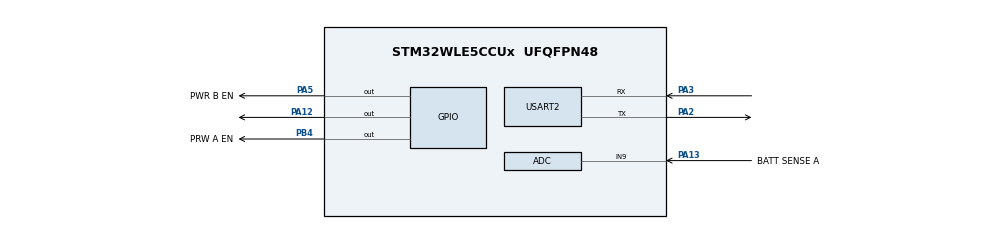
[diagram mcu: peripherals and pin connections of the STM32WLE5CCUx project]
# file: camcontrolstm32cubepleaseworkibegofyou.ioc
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ADC.NbrOfConversion=1
ADC.SelectedChannel=ADC_CHANNEL_9
Mcu.Family=STM32WL
Mcu.Name=STM32WLE5CCUx
Mcu.Package=UFQFPN48
NVIC.PriorityGroup=NVIC_PRIORITYGROUP_4
OSC_IN.Mode=HSE-External-Oscillator
OSC_IN.Signal=RCC_OSC_IN
OSC_OUT.Mode=HSE-External-Oscillator
OSC_OUT.Signal=RCC_OSC_OUT
PA12.Signal=GPIO_Output
PA13.GPIO_Label=BATT SENSE A
PA13.Mode=IN9
PA13.Signal=ADC_IN9
PA2.Mode=Asynchronous
PA2.Signal=USART2_TX
PA3.Mode=Asynchronous
PA3.Signal=USART2_RX
PA5.GPIO_Label=PWR B EN
PA5.Signal=GPIO_Output
PB4.GPIO_Label=PRW A EN
PB4.Signal=GPIO_Output
PB6.Signal=USART1_TX
PB7.Signal=USART1_RX
ProjectManager.HeapSize=0x200
ProjectManager.StackSize=0x400
ProjectManager.TargetToolchain=STM32CubeIDE
RCC.HSE_VALUE=32000000
RCC.HSI_VALUE=16000000
RCC.LSE_VALUE=32768
RCC.VCOOutputFreq_Value=32000000
USART2.VirtualMode-Asynchronous=VM_ASYNC
VP_RTC_VS_RTC_Activate.Mode=RTC_Enabled
VP_SUBGHZ_VS_SUBGHZ.Mode=SUBGHZ_Activate
board=custom

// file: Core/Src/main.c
/* USER CODE BEGIN Header */
/**
  ******************************************************************************
  * @file           : main.c
  * @brief          : Main program body
  ******************************************************************************
  * @attention
  *
  * Copyright (c) 2026 STMicroelectronics.
  * All rights reserved.
  *
  * This software is licensed under terms that can be found in the LICENSE file
  * in the root directory of this software component.
  * If no LICENSE file comes with this software, it is provided AS-IS.
  *
  ******************************************************************************
  */
/* USER CODE END Header */
#include "main.h"

/* USER CODE BEGIN Includes */
#include "string.h"
#include <stdbool.h>
#include <string.h>
#include <math.h>
//#include <lora.h>
#include <basiclib.h>
/* USER CODE END Includes */

ADC_HandleTypeDef hadc;

RTC_HandleTypeDef hrtc;

SUBGHZ_HandleTypeDef hsubghz;

UART_HandleTypeDef huart2;

void SystemClock_Config(void);
static void MX_GPIO_Init(void);
static void MX_USART2_UART_Init(void);
static void MX_RTC_Init(void);
static void MX_SUBGHZ_Init(void);
static void MX_ADC_Init(void);
/* USER CODE BEGIN PFP */

#define PUTCHAR_PROTOTYPE int __io_putchar(int ch)

/* USER CODE END PFP */

/* USER CODE BEGIN 0 */

#define transmitinterval 1000

void LED_on();
void LED_off();

void SetStandbyXOSC();
void SetPacketTypeLora();
void SetPacketTypeFSK();
uint32_t ComputeRfFreq(double frequencyMhz);
void SetRfFreq(uint32_t rfFreq);
void SetPaLowPower();
void SetPa22dB();
void SetTxPower(int8_t powerdBm);
void SetContinuousWave();
void SetTxInfinitePreamble();
void SetTx(uint32_t timeout);
void SetRx(uint32_t timeout);
void SetModulationParamsLora(const uint8_t params[4]);
void SetModulationParamsFSK(uint32_t bitrate, uint8_t pulseshape, uint8_t bandwidth, uint32_t freq_dev);
void SetPacketParamsLora(uint16_t preamble_length, bool header_fixed, uint8_t payload_length, bool crc_enabled, bool invert_iq);
void FSKBeep(int8_t powerdBm, uint32_t toneHz, uint32_t lengthMs);
int CWBeep(int8_t powerdBm, uint32_t lengthMs);

uint16_t GetIRQStatus();
void ClearIRQ();
uint16_t SubGHz_CheckAndClearTxIRQ(void);
void CfgIRQ(uint16_t bitmask);

void setupLoRa();
void sendPacket(union telempacket _packet,uint32_t timeout);
union telempacket recievePacket(uint32_t timeout);

union telempacket recievePacketACK(uint8_t command,uint32_t timeout);
uint8_t sendPacketACK(union telempacket _packet,uint32_t timeout);

void printbuffer(uint8_t *buf,uint8_t size);

/* USER CODE END 0 */

int main(void)
{

  /* MCU Configuration--------------------------------------------------------*/

  /* Reset of all peripherals, Initializes the Flash interface and the Systick. */
  HAL_Init();

  /* Configure the system clock */
  SystemClock_Config();

  /* Initialize all configured peripherals */
  MX_GPIO_Init();
  MX_USART2_UART_Init();
  MX_RTC_Init();
  MX_SUBGHZ_Init();
  MX_ADC_Init();
  /* USER CODE BEGIN 2 */

  uint32_t uptime = 0;
  setupLoRa();
  uint8_t commandtosend = 0;

  /* USER CODE END 2 */

  /* Infinite loop */
  /* USER CODE BEGIN WHILE */
  while (1)
  {
		HAL_GPIO_TogglePin(GPIOA, GPIO_PIN_12);
		uptime = HAL_GetTick();

		/*------------------------TRANSMIT-------------------*/

		union telempacket packet;
		uint8_t Astatus = HAL_GPIO_ReadPin(GPIOB, GPIO_PIN_4);
		uint8_t Bstatus = HAL_GPIO_ReadPin(GPIOA, GPIO_PIN_5);

		uint8_t boardstatus = Astatus | (Bstatus << 1);
		printf(" status = %x",boardstatus);
		printf(" transmitting @ %d ms ",uptime);
		packet.r.uptime = uptime;
		packet.r.ID = 0x12;
		packet.r.status = boardstatus;
		//printbuffer(packet.data, sizeof(packet.data));
		//printf(" ---- ");
		uint8_t ackcommand = 0;
		ackcommand = sendPacketACK(packet,1000);

		printf(" command 0x%x \n\r ",ackcommand);

		if (ackcommand & 0b1){
			printf("enabling A ");
			HAL_GPIO_WritePin(GPIOB, GPIO_PIN_4, GPIO_PIN_SET);
		}
		if (ackcommand & 0b10){
			printf("enabling B ");
			HAL_GPIO_WritePin(GPIOA, GPIO_PIN_5, GPIO_PIN_SET);
		}
		if (ackcommand & 0b100){
			printf("disabling A ");
			HAL_GPIO_WritePin(GPIOB, GPIO_PIN_4, GPIO_PIN_RESET);
		}
		if (ackcommand & 0b1000){
			printf("disabling B ");
			HAL_GPIO_WritePin(GPIOA, GPIO_PIN_5, GPIO_PIN_RESET);
		}

		HAL_Delay(transmitinterval);
		/*------------------------RECEIVE-------------------*/
//		uint8_t serialcommands[8] = {0,0,0,0,0,0,0,0};
//		HAL_UART_Receive(&huart2, serialcommands, sizeof(serialcommands), 20);
//		if(serialcommands[0] != 0){
//			printbuffer(serialcommands, sizeof(serialcommands));
//			printf("recieved command 0x%x",serialcommands[0]);
//			commandtosend = serialcommands[0];
//		}
//
//		union telempacket newpacket = recievePacketACK(commandtosend,300);
//		if (newpacket.r.ID == 0x12){
//			printf("packet received - uptime %d ms, status %d \n\r",(int)newpacket.r.uptime,(int)newpacket.r.status);
//			commandtosend = 0;
//		}
//		//printf(" packet uptime: %d ID: %x \n\r",newpacket.r.uptime,newpacket.r.ID);
//		HAL_Delay(200);

		/*------------------------ALL-------------------*/

    /* USER CODE END WHILE */

  }
}

void SystemClock_Config(void)
{
  RCC_OscInitTypeDef RCC_OscInitStruct = {0};
  RCC_ClkInitTypeDef RCC_ClkInitStruct = {0};

  /** Configure the main internal regulator output voltage
  */
  __HAL_PWR_VOLTAGESCALING_CONFIG(PWR_REGULATOR_VOLTAGE_SCALE2);

  /** Initializes the CPU, AHB and APB buses clocks
  */
  RCC_OscInitStruct.OscillatorType = RCC_OSCILLATORTYPE_LSI|RCC_OSCILLATORTYPE_MSI;
  RCC_OscInitStruct.MSIState = RCC_MSI_ON;
  RCC_OscInitStruct.MSICalibrationValue = RCC_MSICALIBRATION_DEFAULT;
  RCC_OscInitStruct.MSIClockRange = RCC_MSIRANGE_6;
  RCC_OscInitStruct.LSIDiv = RCC_LSI_DIV1;
  RCC_OscInitStruct.LSIState = RCC_LSI_ON;
  RCC_OscInitStruct.PLL.PLLState = RCC_PLL_NONE;
  if (HAL_RCC_OscConfig(&RCC_OscInitStruct) != HAL_OK)
  {
    Error_Handler();
  }

  /** Configure the SYSCLKSource, HCLK, PCLK1 and PCLK2 clocks dividers
  */
  RCC_ClkInitStruct.ClockType = RCC_CLOCKTYPE_HCLK3|RCC_CLOCKTYPE_HCLK
                              |RCC_CLOCKTYPE_SYSCLK|RCC_CLOCKTYPE_PCLK1
                              |RCC_CLOCKTYPE_PCLK2;
  RCC_ClkInitStruct.SYSCLKSource = RCC_SYSCLKSOURCE_MSI;
  RCC_ClkInitStruct.AHBCLKDivider = RCC_SYSCLK_DIV1;
  RCC_ClkInitStruct.APB1CLKDivider = RCC_HCLK_DIV1;
  RCC_ClkInitStruct.APB2CLKDivider = RCC_HCLK_DIV1;
  RCC_ClkInitStruct.AHBCLK3Divider = RCC_SYSCLK_DIV1;

  if (HAL_RCC_ClockConfig(&RCC_ClkInitStruct, FLASH_LATENCY_0) != HAL_OK)
  {
    Error_Handler();
  }
}

static void MX_ADC_Init(void)
{

  /** Configure the global features of the ADC (Clock, Resolution, Data Alignment and number of conversion)
  */
  hadc.Instance = ADC;
  hadc.Init.ClockPrescaler = ADC_CLOCK_SYNC_PCLK_DIV1;
  hadc.Init.Resolution = ADC_RESOLUTION_12B;
  hadc.Init.DataAlign = ADC_DATAALIGN_RIGHT;
  hadc.Init.ScanConvMode = ADC_SCAN_DISABLE;
  hadc.Init.EOCSelection = ADC_EOC_SINGLE_CONV;
  hadc.Init.LowPowerAutoWait = DISABLE;
  hadc.Init.LowPowerAutoPowerOff = DISABLE;
  hadc.Init.ContinuousConvMode = DISABLE;
  hadc.Init.NbrOfConversion = 1;
  hadc.Init.DiscontinuousConvMode = DISABLE;
  hadc.Init.ExternalTrigConv = ADC_SOFTWARE_START;
  hadc.Init.ExternalTrigConvEdge = ADC_EXTERNALTRIGCONVEDGE_NONE;
  hadc.Init.DMAContinuousRequests = DISABLE;
  hadc.Init.Overrun = ADC_OVR_DATA_PRESERVED;
  hadc.Init.SamplingTimeCommon1 = ADC_SAMPLETIME_1CYCLE_5;
  hadc.Init.SamplingTimeCommon2 = ADC_SAMPLETIME_1CYCLE_5;
  hadc.Init.OversamplingMode = DISABLE;
  hadc.Init.TriggerFrequencyMode = ADC_TRIGGER_FREQ_HIGH;
  if (HAL_ADC_Init(&hadc) != HAL_OK)
  {
    Error_Handler();
  }

}

static void MX_RTC_Init(void)
{

  /** Initialize RTC Only
  */
  hrtc.Instance = RTC;
  hrtc.Init.HourFormat = RTC_HOURFORMAT_24;
  hrtc.Init.AsynchPrediv = 127;
  hrtc.Init.SynchPrediv = 255;
  hrtc.Init.OutPut = RTC_OUTPUT_DISABLE;
  hrtc.Init.OutPutRemap = RTC_OUTPUT_REMAP_NONE;
  hrtc.Init.OutPutPolarity = RTC_OUTPUT_POLARITY_HIGH;
  hrtc.Init.OutPutType = RTC_OUTPUT_TYPE_OPENDRAIN;
  hrtc.Init.OutPutPullUp = RTC_OUTPUT_PULLUP_NONE;
  hrtc.Init.BinMode = RTC_BINARY_NONE;
  if (HAL_RTC_Init(&hrtc) != HAL_OK)
  {
    Error_Handler();
  }

}

static void MX_SUBGHZ_Init(void)
{

  hsubghz.Init.BaudratePrescaler = SUBGHZSPI_BAUDRATEPRESCALER_8;
  if (HAL_SUBGHZ_Init(&hsubghz) != HAL_OK)
  {
    Error_Handler();
  }

}

static void MX_USART2_UART_Init(void)
{

  huart2.Instance = USART2;
  huart2.Init.BaudRate = 115200;
  huart2.Init.WordLength = UART_WORDLENGTH_8B;
  huart2.Init.StopBits = UART_STOPBITS_1;
  huart2.Init.Parity = UART_PARITY_NONE;
  huart2.Init.Mode = UART_MODE_TX_RX;
  huart2.Init.HwFlowCtl = UART_HWCONTROL_NONE;
  huart2.Init.OverSampling = UART_OVERSAMPLING_16;
  huart2.Init.OneBitSampling = UART_ONE_BIT_SAMPLE_DISABLE;
  huart2.Init.ClockPrescaler = UART_PRESCALER_DIV1;
  huart2.AdvancedInit.AdvFeatureInit = UART_ADVFEATURE_NO_INIT;
  if (HAL_UART_Init(&huart2) != HAL_OK)
  {
    Error_Handler();
  }
  if (HAL_UARTEx_SetTxFifoThreshold(&huart2, UART_TXFIFO_THRESHOLD_1_8) != HAL_OK)
  {
    Error_Handler();
  }
  if (HAL_UARTEx_SetRxFifoThreshold(&huart2, UART_RXFIFO_THRESHOLD_1_8) != HAL_OK)
  {
    Error_Handler();
  }
  if (HAL_UARTEx_DisableFifoMode(&huart2) != HAL_OK)
  {
    Error_Handler();
  }

}

static void MX_GPIO_Init(void)
{
  GPIO_InitTypeDef GPIO_InitStruct = {0};

  /* GPIO Ports Clock Enable */
  __HAL_RCC_GPIOB_CLK_ENABLE();
  __HAL_RCC_GPIOA_CLK_ENABLE();

  /*Configure GPIO pin Output Level */
  HAL_GPIO_WritePin(PRW_A_EN_GPIO_Port, PRW_A_EN_Pin, GPIO_PIN_RESET);

  /*Configure GPIO pin Output Level */
  HAL_GPIO_WritePin(GPIOA, PWR_B_EN_Pin|GPIO_PIN_12, GPIO_PIN_RESET);

  /*Configure GPIO pin : PRW_A_EN_Pin */
  GPIO_InitStruct.Pin = PRW_A_EN_Pin;
  GPIO_InitStruct.Mode = GPIO_MODE_OUTPUT_PP;
  GPIO_InitStruct.Pull = GPIO_NOPULL;
  GPIO_InitStruct.Speed = GPIO_SPEED_FREQ_LOW;
  HAL_GPIO_Init(PRW_A_EN_GPIO_Port, &GPIO_InitStruct);

  /*Configure GPIO pins : PB6 PB7 */
  GPIO_InitStruct.Pin = GPIO_PIN_6|GPIO_PIN_7;
  GPIO_InitStruct.Mode = GPIO_MODE_AF_PP;
  GPIO_InitStruct.Pull = GPIO_NOPULL;
  GPIO_InitStruct.Speed = GPIO_SPEED_FREQ_LOW;
  GPIO_InitStruct.Alternate = GPIO_AF7_USART1;
  HAL_GPIO_Init(GPIOB, &GPIO_InitStruct);

  /*Configure GPIO pins : PWR_B_EN_Pin PA12 */
  GPIO_InitStruct.Pin = PWR_B_EN_Pin|GPIO_PIN_12;
  GPIO_InitStruct.Mode = GPIO_MODE_OUTPUT_PP;
  GPIO_InitStruct.Pull = GPIO_NOPULL;
  GPIO_InitStruct.Speed = GPIO_SPEED_FREQ_LOW;
  HAL_GPIO_Init(GPIOA, &GPIO_InitStruct);

}

/* USER CODE BEGIN 4 */
PUTCHAR_PROTOTYPE
{
  /* Place your implementation of fputc here */
  /* e.g. write a character to the USART1 and Loop until the end of transmission */
  HAL_UART_Transmit(&huart2, (uint8_t *)&ch, 1, 0xFFFF);
  return ch;
}

void LED_on() {
    HAL_GPIO_WritePin(GPIOA, GPIO_PIN_12, GPIO_PIN_SET);
}
void LED_off() {
    HAL_GPIO_WritePin(GPIOA, GPIO_PIN_12, GPIO_PIN_RESET);
}

void SetStandbyXOSC() {
    uint8_t txbuf[2] = {0x80, 0x01};
    HAL_SUBGHZ_ExecSetCmd(&hsubghz, txbuf[0], txbuf+1, sizeof(txbuf)-1);
}

void SetPacketTypeLora() {
    uint8_t txbuf[2] = {0x8A, 0x01};
    HAL_SUBGHZ_ExecSetCmd(&hsubghz, txbuf[0], txbuf+1, sizeof(txbuf)-1);
}

void SetPacketTypeFSK() {
    uint8_t txbuf[2] = {0x8A, 0x00};
    HAL_SUBGHZ_ExecSetCmd(&hsubghz, txbuf[0], txbuf+1, sizeof(txbuf)-1);
}

uint32_t ComputeRfFreq(double frequencyMhz) {
    return (uint32_t)(frequencyMhz * 1048576L); //2^25/(32e6)
}

void SetRfFreq(uint32_t rfFreq) {
    uint8_t txbuf[5] = {0x86, (rfFreq & 0xFF000000) >> 24, (rfFreq & 0x00FF0000) >> 16, (rfFreq & 0x0000FF00) >> 8, rfFreq & 0x000000FF};
    HAL_SUBGHZ_ExecSetCmd(&hsubghz, txbuf[0], txbuf+1, sizeof(txbuf)-1);
}

void SetPaLowPower() {
    // set Pa to 14 dB.
    uint8_t txbuf[5] = {0x95, 0x02, 0x02, 0x00, 0x01};
    HAL_SUBGHZ_ExecSetCmd(&hsubghz, txbuf[0], txbuf+1, sizeof(txbuf)-1);
}

void SetPa22dB() {
    // set Pa to the highest 22 dBm
    uint8_t txbuf[5] = {0x95, 0x04, 0x07, 0x00, 0x01};
    HAL_SUBGHZ_ExecSetCmd(&hsubghz, txbuf[0], txbuf+1, sizeof(txbuf)-1);
}

void SetTxPower(int8_t powerdBm) {
    // Between -9 and 22
    int8_t power = powerdBm < -9 ? -9 : ((powerdBm > 22) ? 22 : powerdBm);
    uint8_t txbuf[3] = {0x8E, (uint8_t) power, 0x02};
    HAL_SUBGHZ_ExecSetCmd(&hsubghz, txbuf[0], txbuf+1, sizeof(txbuf)-1);
}

void SetContinuousWave() {
    uint8_t txbuf[1] = {0xD1};
    HAL_SUBGHZ_ExecSetCmd(&hsubghz, txbuf[0], txbuf, 0);
}

void SetTxInfinitePreamble() {
    uint8_t txbuf[1] = {0xD2};
    HAL_SUBGHZ_ExecSetCmd(&hsubghz, txbuf[0], txbuf, 0);
}

void SetTx(uint32_t timeout) {
    // Timeout * 15.625 µs
    uint8_t txbuf[4] = {0x83, (timeout & 0x00FF0000) >> 16, (timeout & 0x0000FF00) >> 8, timeout & 0x000000FF};
    HAL_SUBGHZ_ExecSetCmd(&hsubghz, txbuf[0], txbuf+1, sizeof(txbuf)-1);
}

void SetRx(uint32_t timeout) {
    // Timeout * 15.625 µs
    // 0x000000 No timeout. Rx Single mode
    // 0xFFFFFF Rx Continuous mode. The device remains in RX mode until the host sends a command to change the operation mode
    uint8_t txbuf[4] = {0x82, (timeout & 0x00FF0000) >> 16, (timeout & 0x0000FF00) >> 8, timeout & 0x000000FF};
    HAL_SUBGHZ_ExecSetCmd(&hsubghz, txbuf[0], txbuf+1, sizeof(txbuf)-1);
}

void SetModulationParamsLora(const uint8_t params[4]) {
    uint8_t txbuf[5] = {0x8B, params[0], params[1], params[2], params[3]};
    HAL_SUBGHZ_ExecSetCmd(&hsubghz, txbuf[0], txbuf+1, sizeof(txbuf)-1);
}

void SetModulationParamsFSK(uint32_t bitrate, uint8_t pulseshape, uint8_t bandwidth, uint32_t freq_dev) {
    uint32_t BR = 32 * 32e6 / bitrate;
    uint32_t fdev = (uint32_t) (freq_dev * 1.048576L); // 2^25/32e6 = 1.048576
    uint8_t txbuf[9] = {0x8B, (BR & 0x00FF0000) >> 16, (BR & 0x0000FF00) >> 8, BR & 0x000000FF, pulseshape, bandwidth, (fdev & 0x00FF0000) >> 16, (fdev & 0x0000FF00) >> 8, fdev & 0x000000FF};
    HAL_SUBGHZ_ExecSetCmd(&hsubghz, txbuf[0], txbuf+1, sizeof(txbuf)-1);
}

void SetPacketParamsLora(uint16_t preamble_length, bool header_fixed, uint8_t payload_length, bool crc_enabled, bool invert_iq) {
    uint8_t txbuf[7] = {0x8C, (uint8_t)((preamble_length >> 8) & 0xFF), (uint8_t)(preamble_length & 0xFF),
                        (uint8_t) header_fixed, payload_length, (uint8_t) crc_enabled, (uint8_t) invert_iq};

    HAL_SUBGHZ_ExecSetCmd(&hsubghz, txbuf[0], txbuf+1, sizeof(txbuf)-1);
}
/*
void WriteBuffer(uint8_t offset, uint8_t *data, uint8_t len) {
    HAL_SUBGHZ_WriteBuffer(&hsubghz, offset, data, len);
}

void ReadBuffer(uint8_t offset, uint8_t *data, uint8_t len) {
    HAL_SUBGHZ_ReadBuffer(&hsubghz, offset, data, len);
}
*/

uint16_t GetIRQStatus(){
	uint8_t rxbuf[3];
	HAL_SUBGHZ_GetError(&hsubghz);
	HAL_SUBGHZ_ExecGetCmd(&hsubghz, 0x12, rxbuf, sizeof(rxbuf));
	//printbuffer(rxbuf, sizeof(rxbuf));
	uint16_t irqstatus = (rxbuf[2] << 4) | rxbuf[1];
	return irqstatus;
}

void ClearIRQ() {
    uint8_t txbuf[2];
    HAL_SUBGHZ_ExecGetCmd(&hsubghz, 0x02, txbuf, sizeof(txbuf));
    //printbuffer(txbuf, sizeof(txbuf));
}

void CfgIRQ(uint16_t bitmask) {
    uint8_t txbuf[3] = {0x08,(uint8_t)(bitmask>>8),(uint8_t)(bitmask)};
    //printbuffer(txbuf, 3);
    HAL_SUBGHZ_ExecSetCmd(&hsubghz, txbuf[0], txbuf, 3);
}

/*
void FSKBeep(int8_t powerdBm, uint32_t toneHz, uint32_t lengthMs) {
    // assume in standbyXOSC already.
    HAL_Delay(1);
    SetTxPower(powerdBm);
    SetModulationParamsFSK(toneHz*2,    0x09,     0x1E,      2500);
    HAL_Delay(5);
    SetTxInfinitePreamble();
    HAL_Delay(lengthMs);
    SetStandbyXOSC();
    HAL_Delay(5);
}

int CWBeep(int8_t powerdBm, uint32_t lengthMs) {
    HAL_Delay(1);
    SetTxPower(powerdBm);
    HAL_Delay(5);
    SetContinuousWave();
    HAL_Delay(lengthMs);
    SetStandbyXOSC();
    HAL_Delay(5);
    return 0;
}
*/

void setupLoRa() {
	LED_on();
	HAL_Delay(100);
	LED_off();
	SetStandbyXOSC();
	HAL_Delay(1);
	SetPacketTypeLora();
	HAL_Delay(1);
	SetRfFreq(ComputeRfFreq(915.225));
	CfgIRQ(0xffff);

	//SetPaLowPower(); // For powers up to 14 dBm
	SetPa22dB(); // Allows powers up to 22 dBm
	HAL_Delay(1);
	SetTxPower(22);
	HAL_Delay(1);
	//uint8_t LORA_SF12_BW62_CR45[4] = {0x0C, 0x03, 0x01, 0x00};
	uint8_t LORA_SF8_BW62_CR45[4] = {0x8, 0x03, 0x01, 0x00};
	SetModulationParamsLora(LORA_SF8_BW62_CR45);
	HAL_Delay(1);

	SetPacketParamsLora(4, true, sizeof(union telempacket), true, false); // Send 4 bytes
	HAL_Delay(1);
	uint8_t buffer[4] = {0x00, 0x00, 0x00, 0x00};
	HAL_SUBGHZ_WriteBuffer(&hsubghz, 0, buffer, 4);
}

void sendPacket(union telempacket _packet,uint32_t timeout) {
	uint8_t buffer[sizeof(_packet)];

	memcpy(buffer,_packet.data,sizeof(_packet));

	printbuffer(buffer, sizeof(buffer));

	HAL_SUBGHZ_WriteBuffer(&hsubghz, 0, buffer, sizeof(_packet));
	HAL_Delay(1);
	SetTx(0);
	LED_on();
	uint32_t starttime =  HAL_GetTick();
	while ((GetIRQStatus() & 0x1) == 0){
			HAL_Delay(05);
			//printf("waiting... %d \n\r",GetIRQStatus());
			if(HAL_GetTick() - starttime > timeout) break;
	}
}

union telempacket recievePacket(uint32_t timeout){
	ClearIRQ();
	SetRx(0);
	uint32_t starttime =  HAL_GetTick();
	while ((GetIRQStatus() & 0x6) == 0){
		HAL_Delay(05);
		//printf("waiting... %d \n\r",GetIRQStatus());
		if(HAL_GetTick() - starttime > timeout) break;
	} // wait for rx irq

	ClearIRQ();
	union telempacket _packet;
	uint8_t buffer[sizeof(_packet)];

	HAL_SUBGHZ_ReadBuffer(&hsubghz, 0, buffer, sizeof(buffer));
	//printbuffer(buffer, sizeof(buffer));

	memcpy(_packet.data,buffer,sizeof(buffer));

	return _packet;
}

uint8_t sendPacketACK(union telempacket _packet, uint32_t timeout) {
	uint8_t txbuffer[sizeof(_packet)];

	memcpy(txbuffer,_packet.data,sizeof(_packet));

	printbuffer(txbuffer, sizeof(txbuffer));

	HAL_SUBGHZ_WriteBuffer(&hsubghz, 0, txbuffer, sizeof(_packet));
	HAL_Delay(1);
	SetTx(0);
	LED_on();
	uint32_t starttime =  HAL_GetTick();
	while ((GetIRQStatus() & 0x1) == 0){
			HAL_Delay(05);
			//printf("waiting... %d \n\r",GetIRQStatus());
			if(HAL_GetTick() - starttime > timeout) break;
	}

	uint8_t buffer[sizeof(_packet)];

	HAL_SUBGHZ_ReadBuffer(&hsubghz, 0, buffer, sizeof(buffer));

	//wait for ack
	union telempacket ackpack;
	while (HAL_GetTick() - starttime < timeout){
		printf(" - waiting for ack - ");
		ackpack = recievePacket(timeout);

		if (ackpack.r.ID == 0x34){
			printf(" recieved ack with %d uptime ",ackpack.r.uptime);
			return ackpack.r.status;
		}
		else{
			printf(" recieved something ",ackpack.r.uptime);
		}
		}

	return 0;
}

union telempacket recievePacketACK(uint8_t command,uint32_t timeout){
	ClearIRQ();
	SetRx(0);
	uint32_t starttime =  HAL_GetTick();
	while ((GetIRQStatus() & 0x6) == 0){
		HAL_Delay(05);
		//printf("waiting... %d \n\r",GetIRQStatus());
		if(HAL_GetTick() - starttime > timeout) break;
	}
	//printf(" clearing irqs ");
	ClearIRQ();
	union telempacket _packet;
	uint8_t rxbuffer[sizeof(_packet)];

	HAL_SUBGHZ_ReadBuffer(&hsubghz, 0, rxbuffer, sizeof(rxbuffer));

	memcpy(_packet.data,rxbuffer,sizeof(rxbuffer));
	if (_packet.r.ID == 0x12) {
		printf(" got good packet - receive buffer: \n\r  ");
		printbuffer(rxbuffer, sizeof(rxbuffer));
		printf(" \n\r");
		memcpy(_packet.data,rxbuffer,sizeof(rxbuffer));

	} else {
	  LED_off();
	  //printf(" ID error ");
	  return _packet;

	}

	HAL_Delay(100);

	union telempacket _ackpacket;
	_ackpacket.r.ID = 0x34;
	_ackpacket.r.status = command;
	_ackpacket.r.uptime = HAL_GetTick();

	printf("sendingack - \n\r  ");

	sendPacket(_ackpacket,timeout);

	printf(" done acking \n\r ");

	return _packet;
}

// prints the contents of a buffer
void printbuffer(uint8_t *buf,uint8_t size){
	for (uint8_t i = 0; i < size; i++){
		printf(" %x",buf[i]);
	}
	return;
}

/* USER CODE END 4 */

void Error_Handler(void)
{
  /* USER CODE BEGIN Error_Handler_Debug */
  /* User can add his own implementation to report the HAL error return state */
  __disable_irq();
  while (1)
  {
	  HAL_GPIO_TogglePin(GPIOA, GPIO_PIN_12);
	  HAL_Delay(50);
  }
  /* USER CODE END Error_Handler_Debug */
}
